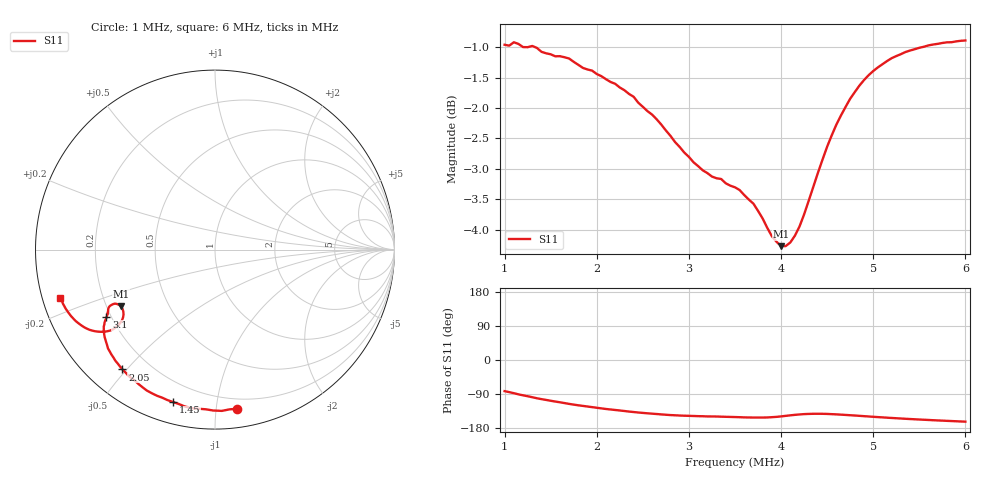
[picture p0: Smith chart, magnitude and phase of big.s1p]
# HZ S RI R 50
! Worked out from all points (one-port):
!   101 points, 1 MHz to 6 MHz, reference 50 ohm
!   lowest |S11| = -4.3 dB at 4 MHz (marker M1), VSWR 4.15, Z = 12.9 - j13.1 ohm
!   |S11| at or under -10 dB: nowhere
!   S11 on the Smith chart (normalised r, x): 1 MHz: 0.13, -1.14; 1.45 MHz: 0.10, -0.76; 2.05 MHz: 0.11, -0.49; 3.1 MHz: 0.18, -0.28; 6 MHz: 0.05, -0.15
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1000000  0.1213 -0.8869
1100000  0.0383 -0.8986
1150000  -0.00974 -0.8966
1300000  -0.1278 -0.8839
1350000  -0.1689 -0.8737
1450000  -0.233 -0.8495
1650000  -0.3511 -0.8007
1800000  -0.4253 -0.7496
2050000  -0.5156 -0.6677
2250000  -0.5657 -0.6015
2400000  -0.5964 -0.5502
2550000  -0.611 -0.5003
2700000  -0.6193 -0.4573
2900000  -0.6155 -0.407
3100000  -0.6048 -0.3752
3500000  -0.5956 -0.3359
3700000  -0.5843 -0.3132
3850000  -0.5573 -0.301
4000000  -0.5236 -0.3164
4150000  -0.5095 -0.3603
4250000  -0.5175 -0.3928
4450000  -0.5678 -0.4438
4600000  -0.6189 -0.4578
4750000  -0.6682 -0.455
5050000  -0.7477 -0.42
5400000  -0.8077 -0.363
5650000  -0.8355 -0.3225
6000000  -0.8617 -0.2683
